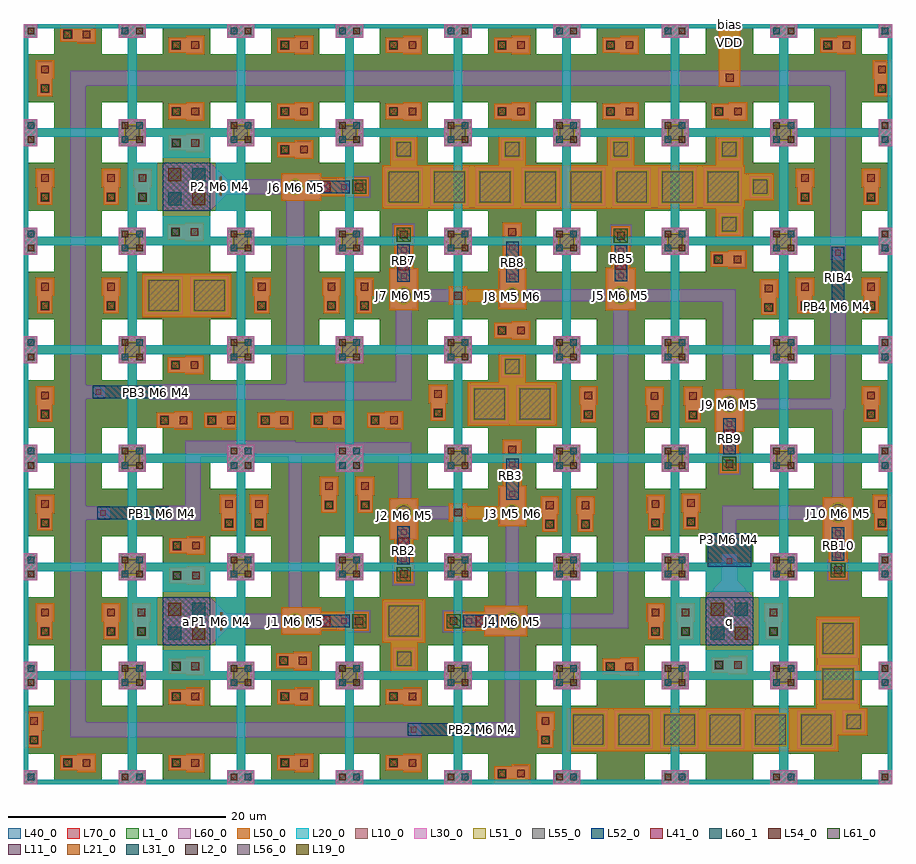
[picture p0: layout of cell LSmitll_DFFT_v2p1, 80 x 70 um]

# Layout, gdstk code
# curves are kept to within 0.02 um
from math import pi, radians
import gdstk
lib = gdstk.Library(unit=1e-6, precision=1e-09)
def R(c, l, rs):  # rectangles x0, y0, x1, y1
    for r in rs: c.add(gdstk.rectangle(r[:2], r[2:], *l))
def A(c, l, x, y, w, h, nx, ny, dx, dy):  # array of equal rectangles
    R(c, l, [(x+i*dx, y+j*dy, x+i*dx+w, y+j*dy+h) for i in range(nx) for j in range(ny)])
def P(c, l, *ps):  # polygons
    for p in ps: c.add(gdstk.Polygon(p, *l))
L1_0 = (1, 0)
L2_0 = (2, 0)
L10_0 = (10, 0)
L11_0 = (11, 0)
L19_0 = (19, 0)
L20_0 = (20, 0)
L21_0 = (21, 0)
L30_0 = (30, 0)
L31_0 = (31, 0)
L40_0 = (40, 0)
L41_0 = (41, 0)
L50_0 = (50, 0)
L51_0 = (51, 0)
L52_0 = (52, 0)
L54_0 = (54, 0)
L55_0 = (55, 0)
L56_0 = (56, 0)
L60_0 = (60, 0)
L60_1 = (60, 1)
L61_0 = (61, 0)
L70_0 = (70, 0)

ls_ib_235 = lib.new_cell('ls_ib_235')
R(ls_ib_235, L52_0, [(-0.575,0,0.575,7.475)])
R(ls_ib_235, L56_0, [(-0.26,0.29,0.26,0.81), (-0.26,6.68,0.26,7.2)])
R(ls_ib_235, L60_0, [(-0.625,-0.1,0.625,1.175), (-0.625,6.3,0.625,7.575)])

ls_fakejj_1p5x1p5um = lib.new_cell('ls_FakeJJ_1p5x1p5um')
R(ls_fakejj_1p5x1p5um, L40_0, [(-1.25,-1.25,1.25,1.25)])
R(ls_fakejj_1p5x1p5um, L50_0, [(-1.25,-1.25,1.25,1.25)])
R(ls_fakejj_1p5x1p5um, L51_0, [(-0.75,-0.75,0.75,0.75)])
R(ls_fakejj_1p5x1p5um, L55_0, [(-0.65,-0.65,0.65,0.65)])
R(ls_fakejj_1p5x1p5um, L60_0, [(-1,-1,1,1)])

ls_fakejj_3umx3um = lib.new_cell('ls_FakeJJ_3umx3um')
R(ls_fakejj_3umx3um, L40_0, [(-2,-2,2,2)])
R(ls_fakejj_3umx3um, L50_0, [(-2,-2,2,2)])
R(ls_fakejj_3umx3um, L51_0, [(-1.5,-1.5,1.5,1.5)])
R(ls_fakejj_3umx3um, L55_0, [(-1.4,-1.4,1.4,1.4)])
R(ls_fakejj_3umx3um, L60_0, [(-1.75,-1.75,1.75,1.75)])

ls_conn_m4m5m6m7 = lib.new_cell('ls_conn_M4M5M6M7')
R(ls_conn_m4m5m6m7, L40_0, [(0,0,1.4,1.4)])
R(ls_conn_m4m5m6m7, L41_0, [(0.3,0.3,1.1,1.1)])
P(ls_conn_m4m5m6m7, L50_0, [(1.6,-0.15),(1.6,0),(0,0),(0,1.4),(1.6,1.4),(1.6,1.55),(3.3,1.55),(3.3,-0.15)])
R(ls_conn_m4m5m6m7, L54_0, [(2.1,0.35,2.8,1.05)])
R(ls_conn_m4m5m6m7, L60_0, [(0,0,3.15,1.4)])
R(ls_conn_m4m5m6m7, L61_0, [(0.35,0.35,1.05,1.05)])
R(ls_conn_m4m5m6m7, L70_0, [(0,0,1.4,1.4)])

ls_tr_m7 = lib.new_cell('ls_tr_M7')
P(ls_tr_m7, L70_0, [(0,0),(0,10),(1.25,10),(1.25,8.75),(0.4,8.75),(0.4,1.25),(1.25,1.25),(1.25,0.4),(2.8,0.4),(2.8,2.8),(0.4,2.8),(0.4,7.2),(2.8,7.2),(2.8,9.6),(1.25,9.6),(1.25,10),(7.2,10),(7.2,0.4),(8.75,0.4),(8.75,1.25),(9.6,1.25),(9.6,2.8),(7.2,2.8),(7.2,7.2),(9.6,7.2),(9.6,8.75),(8.75,8.75),(8.75,9.6),(7.2,9.6),(7.2,10),(10,10),(10,0)])

ls_tr_u_m4 = lib.new_cell('ls_tr_u_M4')
P(ls_tr_u_m4, L1_0, [(0,0),(0,10),(1.25,10),(1.25,8.75),(0.4,8.75),(0.4,1.25),(1.25,1.25),(1.25,0.4),(2.8,0.4),(2.8,2.8),(0.4,2.8),(0.4,7.2),(2.8,7.2),(2.8,9.6),(1.25,9.6),(1.25,10),(7.2,10),(7.2,0.4),(8.75,0.4),(8.75,1.25),(9.6,1.25),(9.6,2.8),(7.2,2.8),(7.2,7.2),(9.6,7.2),(9.6,8.75),(8.75,8.75),(8.75,9.6),(7.2,9.6),(7.2,10),(10,10),(10,0)])
R(ls_tr_u_m4, L2_0, [(9.05,0.35,9.65,0.95), (0.35,9.05,0.95,9.65)])
R(ls_tr_u_m4, L10_0, [(0,0,1.25,1.25), (8.75,0,10,1.25), (0,8.75,1.25,10), (8.75,8.75,10,10)])
R(ls_tr_u_m4, L11_0, [(0.35,0.35,0.95,0.95), (9.05,9.05,9.65,9.65)])
P(ls_tr_u_m4, L20_0, [(0,0),(0,10),(1.25,10),(1.25,8.75),(0.4,8.75),(0.4,1.25),(1.25,1.25),(1.25,0.4),(8.75,0.4),(8.75,1.25),(9.6,1.25),(9.6,8.75),(8.75,8.75),(8.75,9.6),(1.25,9.6),(1.25,10),(10,10),(10,0)])
R(ls_tr_u_m4, L21_0, [(9.05,0.35,9.65,0.95), (0.35,9.05,0.95,9.65)])
R(ls_tr_u_m4, L30_0, [(0,0,1.25,1.25), (8.75,0,10,1.25), (0,8.75,1.25,10), (8.75,8.75,10,10)])
R(ls_tr_u_m4, L31_0, [(0.35,0.35,0.95,0.95), (9.05,9.05,9.65,9.65)])
P(ls_tr_u_m4, L40_0, [(0,0),(0,10),(1.25,10),(1.25,8.75),(0.4,8.75),(0.4,1.25),(1.25,1.25),(1.25,0.4),(2.8,0.4),(2.8,2.8),(0.4,2.8),(0.4,7.2),(2.8,7.2),(2.8,9.6),(1.25,9.6),(1.25,10),(7.2,10),(7.2,0.4),(8.75,0.4),(8.75,1.25),(9.6,1.25),(9.6,2.8),(7.2,2.8),(7.2,7.2),(9.6,7.2),(9.6,8.75),(8.75,8.75),(8.75,9.6),(7.2,9.6),(7.2,10),(10,10),(10,0)])

ls_conn_m5m6m7 = lib.new_cell('ls_conn_M5M6M7')
R(ls_conn_m5m6m7, L50_0, [(-0.5,-0.5,1.2,1.2)])
R(ls_conn_m5m6m7, L54_0, [(0,0,0.7,0.7)])
R(ls_conn_m5m6m7, L60_0, [(-0.65,-0.65,1.35,1.35)])
R(ls_conn_m5m6m7, L61_0, [(-0.3,-0.3,1,1)])
R(ls_conn_m5m6m7, L70_0, [(-0.65,-0.65,1.35,1.35)])

ls_jj_232_sg = lib.new_cell('ls_jj_232_sg')
R(ls_jj_232_sg, L41_0, [(-0.5,2.375,0.5,3.375)])
R(ls_jj_232_sg, L50_0, [(-1.4,-1.4,1.4,2.6), (-0.875,2.6,0.875,6.25)])
P(ls_jj_232_sg, L51_0, [(0,-0.88),(-0.335,-0.815),(-0.62,-0.625),(-0.81,-0.34),(-0.88,0),(-0.81,0.335),(-0.62,0.62),(-0.335,0.81),(0,0.875),(0.335,0.81),(0.62,0.62),(0.81,0.335),(0.88,0),(0.81,-0.34),(0.62,-0.625),(0.335,-0.815)])
R(ls_jj_232_sg, L52_0, [(-0.575,1.325,0.575,4.5)])
P(ls_jj_232_sg, L55_0, [(0,-0.73),(-0.28,-0.69),(-0.53,-0.52),(-0.67,-0.28),(-0.73,0),(-0.67,0.28),(-0.53,0.51),(-0.28,0.67),(0,0.73),(0.28,0.67),(0.53,0.51),(0.67,0.28),(0.73,0),(0.67,-0.28),(0.53,-0.52),(0.28,-0.69)])
R(ls_jj_232_sg, L56_0, [(-0.26,1.6,0.26,2.12), (-0.26,3.71,0.26,4.23)])
R(ls_jj_232_sg, L60_0, [(-1.25,-1.25,1.25,2.5), (-0.725,3.35,0.725,6.1)])
ls_jj_232_sg.add(gdstk.Reference(ls_conn_m5m6m7, (-0.35,5.05)))

ls_jj_212_sg = lib.new_cell('ls_jj_212_sg')
R(ls_jj_212_sg, L41_0, [(-0.5,2.35,0.5,3.35)])
R(ls_jj_212_sg, L50_0, [(-1.375,-1.375,1.375,2.55), (-0.875,2.55,0.875,6.375)])
P(ls_jj_212_sg, L51_0, [(0,-0.84),(-0.32,-0.775),(-0.595,-0.595),(-0.775,-0.32),(-0.84,0),(-0.775,0.325),(-0.595,0.595),(-0.32,0.78),(0,0.84),(0.32,0.78),(0.595,0.595),(0.775,0.325),(0.84,0),(0.775,-0.32),(0.595,-0.595),(0.32,-0.775)])
R(ls_jj_212_sg, L52_0, [(-0.575,1.3,0.575,4.625)])
R(ls_jj_212_sg, L54_0, [(-0.35,5.15,0.35,5.85)])
P(ls_jj_212_sg, L55_0, [(0,-0.69),(-0.26,-0.64),(-0.49,-0.49),(-0.64,-0.26),(-0.69,0),(-0.64,0.27),(-0.49,0.49),(-0.38,0.59),(-0.26,0.64),(0,0.69),(0.26,0.64),(0.38,0.59),(0.49,0.49),(0.64,0.27),(0.69,0),(0.64,-0.26),(0.49,-0.49),(0.26,-0.64)])
R(ls_jj_212_sg, L56_0, [(-0.26,1.57,0.26,2.09), (-0.26,3.83,0.26,4.35)])
R(ls_jj_212_sg, L60_0, [(-1.225,-1.225,1.225,2.45), (-0.725,3.45,0.725,6.225)])
ls_jj_212_sg.add(gdstk.Reference(ls_conn_m5m6m7, (-0.35,5.15)))

ls_conn_m5m6 = lib.new_cell('ls_conn_M5M6')
R(ls_conn_m5m6, L50_0, [(0,0,1.7,1.7)])
R(ls_conn_m5m6, L54_0, [(0.5,0.5,1.2,1.2)])
R(ls_conn_m5m6, L60_0, [(0.15,0.15,1.55,1.55)])

ls_jj_171_s = lib.new_cell('ls_jj_171_s')
R(ls_jj_171_s, L50_0, [(-1.275,-1.275,1.275,2.475), (-0.875,2.475,0.875,6.7)])
P(ls_jj_171_s, L51_0, [(0,-0.76),(-0.29,-0.7),(-0.535,-0.54),(-0.7,-0.29),(-0.76,0),(-0.7,0.29),(-0.535,0.535),(-0.29,0.7),(0,0.755),(0.29,0.7),(0.535,0.535),(0.7,0.29),(0.76,0),(0.7,-0.29),(0.535,-0.54),(0.29,-0.7)])
R(ls_jj_171_s, L52_0, [(-0.575,1.2,0.575,4.95)])
R(ls_jj_171_s, L54_0, [(-0.35,5.475,0.35,6.175)])
P(ls_jj_171_s, L55_0, [(0,-0.61),(-0.12,-0.6),(-0.34,-0.51),(-0.51,-0.34),(-0.6,-0.12),(-0.6,0.12),(-0.51,0.34),(-0.34,0.5),(-0.12,0.61),(0.12,0.61),(0.34,0.5),(0.51,0.34),(0.6,0.12),(0.6,-0.12),(0.51,-0.34),(0.34,-0.51),(0.12,-0.6)])
R(ls_jj_171_s, L56_0, [(-0.26,1.48,0.26,2), (-0.26,4.16,0.26,4.68)])
R(ls_jj_171_s, L60_0, [(-1.125,-1.125,1.125,2.375), (-0.725,3.775,0.725,6.55)])

ls_ib_312 = lib.new_cell('ls_ib_312')
R(ls_ib_312, L52_0, [(-0.575,0,0.575,6.025)])
R(ls_ib_312, L56_0, [(-0.26,0.29,0.26,0.81), (-0.26,5.22,0.26,5.74)])
R(ls_ib_312, L60_0, [(-0.625,-0.1,0.625,1.175), (-0.625,4.85,0.625,6.125)])

ls_jj_198_sg = lib.new_cell('ls_jj_198_sg')
R(ls_jj_198_sg, L41_0, [(-0.5,2.325,0.5,3.325)])
R(ls_jj_198_sg, L50_0, [(-1.35,-1.35,1.35,2.525), (-0.875,2.525,0.875,6.475)])
P(ls_jj_198_sg, L51_0, [(0,-0.815),(-0.31,-0.755),(-0.575,-0.575),(-0.75,-0.315),(-0.815,0),(-0.75,0.31),(-0.575,0.575),(-0.31,0.75),(0,0.81),(0.31,0.75),(0.575,0.575),(0.75,0.31),(0.815,0),(0.75,-0.315),(0.575,-0.575),(0.31,-0.755)])
R(ls_jj_198_sg, L52_0, [(-0.575,1.275,0.575,4.725)])
R(ls_jj_198_sg, L54_0, [(-0.35,5.25,0.35,5.95)])
P(ls_jj_198_sg, L55_0, [(0,-0.66),(-0.25,-0.61),(-0.47,-0.47),(-0.61,-0.25),(-0.66,0),(-0.61,0.26),(-0.47,0.47),(-0.37,0.57),(0,0.67),(0.37,0.57),(0.47,0.47),(0.61,0.26),(0.66,0),(0.61,-0.25),(0.47,-0.47),(0.25,-0.61)])
R(ls_jj_198_sg, L56_0, [(-0.26,1.54,0.26,2.06), (-0.26,3.92,0.26,4.44)])
R(ls_jj_198_sg, L60_0, [(-1.2,-1.2,1.2,2.425), (-0.725,3.55,0.725,6.325)])
ls_jj_198_sg.add(gdstk.Reference(ls_conn_m5m6m7, (-0.35,5.25)))

ls_jj_162_sg = lib.new_cell('ls_jj_162_sg')
R(ls_jj_162_sg, L41_0, [(-0.5,2.25,0.5,3.25)])
R(ls_jj_162_sg, L50_0, [(-1.275,-1.275,1.275,2.425), (-0.875,2.425,0.875,6.775)])
P(ls_jj_162_sg, L51_0, [(0,-0.74),(-0.285,-0.685),(-0.52,-0.525),(-0.685,-0.285),(-0.74,0),(-0.685,0.28),(-0.52,0.52),(-0.285,0.68),(0,0.735),(0.285,0.68),(0.52,0.52),(0.685,0.28),(0.74,0),(0.685,-0.285),(0.52,-0.525),(0.285,-0.685)])
R(ls_jj_162_sg, L52_0, [(-0.575,1.175,0.575,5.025)])
R(ls_jj_162_sg, L54_0, [(-0.35,5.55,0.35,6.25)])
P(ls_jj_162_sg, L55_0, [(0,-0.59),(-0.23,-0.55),(-0.42,-0.42),(-0.54,-0.23),(-0.59,0),(-0.54,0.22),(-0.42,0.43),(-0.13,0.58),(0,0.59),(0.13,0.58),(0.42,0.43),(0.54,0.22),(0.59,0),(0.54,-0.23),(0.42,-0.42),(0.23,-0.55)])
R(ls_jj_162_sg, L56_0, [(-0.26,1.44,0.26,1.96), (-0.26,4.23,0.26,4.75)])
R(ls_jj_162_sg, L60_0, [(-1.125,-1.125,1.125,2.325), (-0.725,3.85,0.725,6.625)])
ls_jj_162_sg.add(gdstk.Reference(ls_conn_m5m6m7, (-0.35,5.55)))

ls_ib_284 = lib.new_cell('ls_ib_284')
R(ls_ib_284, L52_0, [(-0.575,0,0.575,6.45)])
R(ls_ib_284, L56_0, [(-0.26,0.29,0.26,0.81), (-0.26,5.66,0.26,6.18)])
R(ls_ib_284, L60_0, [(-0.625,-0.1,0.625,1.175), (-0.625,5.3,0.625,6.55)])

ls_tr_ptlconnection = lib.new_cell('ls_tr_PTLconnection')
P(ls_tr_ptlconnection, L1_0, [(0,0),(0,10),(1.25,10),(1.25,8.75),(0.4,8.75),(0.4,1.25),(1.25,1.25),(1.25,0.4),(2.8,0.4),(2.8,2.8),(0.4,2.8),(0.4,7.2),(2.8,7.2),(2.8,9.6),(1.25,9.6),(1.25,10),(7.2,10),(7.2,0.4),(8.75,0.4),(8.75,1.25),(9.6,1.25),(9.6,2.8),(7.2,2.8),(7.2,7.2),(9.6,7.2),(9.6,8.75),(8.75,8.75),(8.75,9.6),(7.2,9.6),(7.2,10),(10,10),(10,0)])
R(ls_tr_ptlconnection, L2_0, [(9.05,0.35,9.65,0.95), (0.35,9.05,0.95,9.65)])
R(ls_tr_ptlconnection, L10_0, [(0,0,1.25,1.25), (8.75,0,10,1.25), (2.8,2.8,7.2,7.2), (0,8.75,1.25,10), (8.75,8.75,10,10)])
R(ls_tr_ptlconnection, L11_0, [(0.35,0.35,0.95,0.95), (3.3,3.3,4.5,4.5), (5.5,5.5,6.7,6.7), (9.05,9.05,9.65,9.65)])
R(ls_tr_ptlconnection, L20_0, [(2.8,2.8,7.2,7.2)])
P(ls_tr_ptlconnection, L20_0, [(0,0),(0,10),(7.2,10),(7.2,7.7),(2.8,7.7),(2.8,9.6),(1.25,9.6),(1.25,8.75),(0.4,8.75),(0.4,7.2),(2.3,7.2),(2.3,2.8),(0.4,2.8),(0.4,1.25),(1.25,1.25),(1.25,0.4),(2.8,0.4),(2.8,2.3),(7.2,2.3),(7.2,0.4),(8.75,0.4),(8.75,1.25),(9.6,1.25),(9.6,2.8),(7.7,2.8),(7.7,7.2),(9.6,7.2),(9.6,8.75),(8.75,8.75),(8.75,9.6),(7.2,9.6),(7.2,10),(10,10),(10,0)])
R(ls_tr_ptlconnection, L21_0, [(9.05,0.35,9.65,0.95), (5.5,3.3,6.7,4.5), (3.3,5.5,4.5,6.7), (0.35,9.05,0.95,9.65)])
R(ls_tr_ptlconnection, L30_0, [(0,0,1.25,1.25), (8.75,0,10,1.25), (2.8,2.8,7.2,7.2), (0,8.75,1.25,10), (8.75,8.75,10,10)])
R(ls_tr_ptlconnection, L31_0, [(0.35,0.35,0.95,0.95), (3.3,3.3,4.5,4.5), (5.5,5.5,6.7,6.7), (9.05,9.05,9.65,9.65)])
R(ls_tr_ptlconnection, L40_0, [(2.8,2.8,7.2,7.2)])
P(ls_tr_ptlconnection, L40_0, [(0,0),(0,10),(7.2,10),(7.2,7.7),(2.8,7.7),(2.8,9.6),(1.25,9.6),(1.25,8.75),(0.4,8.75),(0.4,7.2),(2.3,7.2),(2.3,2.8),(0.4,2.8),(0.4,1.25),(1.25,1.25),(1.25,0.4),(2.8,0.4),(2.8,2.3),(7.2,2.3),(7.2,0.4),(8.75,0.4),(8.75,1.25),(9.6,1.25),(9.6,2.8),(7.7,2.8),(7.7,7.2),(9.6,7.2),(9.6,8.75),(8.75,8.75),(8.75,9.6),(7.2,9.6),(7.2,10),(10,10),(10,0)])
R(ls_tr_ptlconnection, L41_0, [(5.5,3.3,6.7,4.5), (3.3,5.5,4.5,6.7)])
R(ls_tr_ptlconnection, L50_0, [(2.8,2.8,7.2,7.2)])
R(ls_tr_ptlconnection, L54_0, [(3.3,3.3,4.5,4.5), (5.5,5.5,6.7,6.7)])
R(ls_tr_ptlconnection, L60_0, [(2.8,2.8,7.2,7.2)])
P(ls_tr_ptlconnection, L70_0, [(0,0),(0,10),(1.25,10),(1.25,8.75),(0.4,8.75),(0.4,1.25),(1.25,1.25),(1.25,0.4),(2.8,0.4),(2.8,2.8),(0.4,2.8),(0.4,7.2),(2.8,7.2),(2.8,9.6),(1.25,9.6),(1.25,10),(7.2,10),(7.2,0.4),(8.75,0.4),(8.75,1.25),(9.6,1.25),(9.6,2.8),(7.2,2.8),(7.2,7.2),(9.6,7.2),(9.6,8.75),(8.75,8.75),(8.75,9.6),(7.2,9.6),(7.2,10),(10,10),(10,0)])

ls_ib_276 = lib.new_cell('ls_ib_276')
R(ls_ib_276, L52_0, [(-0.575,0,0.575,6.6)])
R(ls_ib_276, L56_0, [(-0.26,0.29,0.26,0.81), (-0.26,5.8,0.26,6.32)])
R(ls_ib_276, L60_0, [(-0.625,-0.1,0.625,1.175), (-0.625,5.425,0.625,6.7)])

ls_jj_189_sg = lib.new_cell('ls_jj_189_sg')
R(ls_jj_189_sg, L41_0, [(-0.5,2.3,0.5,3.3)])
R(ls_jj_189_sg, L50_0, [(-1.325,-1.325,1.325,2.525), (-0.875,2.525,0.875,6.525)])
P(ls_jj_189_sg, L51_0, [(0,-0.795),(-0.305,-0.735),(-0.565,-0.56),(-0.735,-0.305),(-0.795,0),(-0.735,0.305),(-0.565,0.565),(-0.305,0.735),(0,0.795),(0.305,0.735),(0.565,0.565),(0.735,0.305),(0.795,0),(0.735,-0.305),(0.565,-0.56),(0.305,-0.735)])
R(ls_jj_189_sg, L52_0, [(-0.575,1.25,0.575,4.775)])
P(ls_jj_189_sg, L55_0, [(0,-0.65),(-0.25,-0.6),(-0.46,-0.46),(-0.6,-0.25),(-0.65,0),(-0.6,0.24),(-0.46,0.45),(-0.25,0.59),(0,0.64),(0.25,0.59),(0.46,0.45),(0.6,0.24),(0.65,0),(0.6,-0.25),(0.46,-0.46),(0.25,-0.6)])
R(ls_jj_189_sg, L56_0, [(-0.26,1.52,0.26,2.04), (-0.26,3.99,0.26,4.51)])
R(ls_jj_189_sg, L60_0, [(-1.175,-1.175,1.175,2.425), (-0.725,3.625,0.725,6.375)])
ls_jj_189_sg.add(gdstk.Reference(ls_conn_m5m6m7, (-0.35,5.325)))

ls_jj_250_sg = lib.new_cell('ls_jj_250_sg')
R(ls_jj_250_sg, L41_0, [(-0.5,2.4,0.5,3.4)])
R(ls_jj_250_sg, L50_0, [(-1.425,-1.425,1.425,2.625), (-0.875,2.625,0.875,6.175)])
P(ls_jj_250_sg, L51_0, [(0,-0.91),(-0.18,-0.895),(-0.35,-0.84),(-0.645,-0.645),(-0.84,-0.35),(-0.91,0),(-0.895,0.18),(-0.84,0.35),(-0.645,0.645),(-0.35,0.84),(-0.18,0.895),(0,0.91),(0.18,0.895),(0.35,0.84),(0.645,0.645),(0.84,0.35),(0.895,0.18),(0.91,0),(0.84,-0.35),(0.645,-0.645),(0.35,-0.84),(0.18,-0.895)])
R(ls_jj_250_sg, L52_0, [(-0.575,1.35,0.575,4.425)])
R(ls_jj_250_sg, L54_0, [(-0.35,4.95,0.35,5.65)])
P(ls_jj_250_sg, L55_0, [(0,-0.76),(-0.15,-0.75),(-0.29,-0.7),(-0.54,-0.54),(-0.7,-0.29),(-0.75,-0.15),(-0.76,0),(-0.75,0.15),(-0.7,0.29),(-0.54,0.54),(-0.29,0.7),(-0.15,0.75),(0,0.76),(0.15,0.75),(0.29,0.7),(0.54,0.54),(0.7,0.29),(0.75,0.15),(0.76,0),(0.75,-0.15),(0.7,-0.29),(0.54,-0.54),(0.29,-0.7),(0.15,-0.75)])
R(ls_jj_250_sg, L56_0, [(-0.26,1.64,0.26,2.16), (-0.26,3.63,0.26,4.15)])
R(ls_jj_250_sg, L60_0, [(-1.275,-1.275,1.275,2.525), (-0.725,3.25,0.725,6.025)])
ls_jj_250_sg.add(gdstk.Reference(ls_conn_m5m6m7, (-0.35,4.95)))

ls_res_1p36 = lib.new_cell('ls_res_1p36')
R(ls_res_1p36, L52_0, [(-2,0,2,3.1)])
R(ls_res_1p36, L56_0, [(-0.26,0.29,0.26,0.81), (-0.26,2.3,0.26,2.82)])
R(ls_res_1p36, L60_0, [(-0.625,-0.1,0.625,1.175), (-0.625,1.925,0.625,3.2)])

lsmitll_dfft_v2p1 = lib.new_cell('LSmitll_DFFT_v2p1')
R(lsmitll_dfft_v2p1, L1_0, [(27.2,27.2,32.8,29.6), (17.2,30.4,32.8,32.8), (27.2,37.2,32.8,39.6)])
R(lsmitll_dfft_v2p1, L19_0, [(42.04,4.74,42.56,5.26), (64.74,22.3,65.26,22.82), (12.54,24.69,13.06,25.21), (11.99,35.84,12.51,36.36), (74.74,43.74,75.26,44.26)])
R(lsmitll_dfft_v2p1, L40_0, [(27.2,27.2,32.8,29.6), (17.2,30.4,32.8,32.8), (27.2,37.2,32.8,39.6)])
A(lsmitll_dfft_v2p1, L50_0, 54, 3, 0.2, 4, 5, 1, 4.2, 0)
A(lsmitll_dfft_v2p1, L50_0, 37, 53, 0.2, 4, 7, 1, 4.2, 0)
A(lsmitll_dfft_v2p1, L50_0, 33.75, 57, 2.5, 0.2, 4, 1, 10, 0)
R(lsmitll_dfft_v2p1, L50_0, [(43.35,0,46.65,0.25), (0,3.35,0.25,6.65), (75,4.5,75.2,7), (73,7,77,7.2), (73,11.2,77,11.4), (33.8,12.8,36.3,13), (79.75,23.35,80,26.65), (44.9,33,45.1,37), (43.75,37,46.25,37.2), (14.9,43,15.1,47), (63.75,52.8,66.25,53), (66.4,53.75,66.6,56.25), (79.75,63.35,80,66.65), (64,64.2,66,70), (3.35,69.75,6.65,70)])
R(lsmitll_dfft_v2p1, L60_0, [(43.35,0,46.5,0.25), (0,3.35,0.25,6.5), (64.3,18.7,65.7,21.175), (79.75,23.35,80,26.5), (5.675,24.325,6.65,25.575), (5.675,35.475,6.3,36.725), (79.75,63.35,80,66.5), (3.35,69.75,6.5,70)])
P(lsmitll_dfft_v2p1, L60_0, [(62.8,17.2),(64.3,18.7),(65.7,18.7),(67.2,17.2)],
  [(17.2,12.8),(17.2,17.2),(18.7,15.7),(23.925,15.7),(23.925,14.3),(18.7,14.3)],
  [(17.2,52.8),(17.2,57.2),(18.7,55.7),(24.875,55.7),(24.875,54.3),(18.7,54.3)])
R(lsmitll_dfft_v2p1, L60_1, [(12.8,12.8,17.2,17.2), (62.8,12.8,67.2,17.2), (12.8,52.8,17.2,57.2)])
R(lsmitll_dfft_v2p1, L70_0, [(27.2,27.2,32.8,29.6), (17.2,30.4,32.8,32.8), (27.2,37.2,32.8,39.6)])
lsmitll_dfft_v2p1.add(gdstk.FlexPath([(35.75,36.2),(24.2,36.2)], 1.7, ends="flush", simple_path=True, layer=60, datatype=0))  # L60_0
lsmitll_dfft_v2p1.add(gdstk.FlexPath([(35,43.8),(35,35.375)], 1.5, ends="flush", simple_path=True, layer=60, datatype=0))  # L60_0
lsmitll_dfft_v2p1.add(gdstk.FlexPath([(25,53.875),(25,35.775)], 1.65, ends="flush", simple_path=True, layer=60, datatype=0))  # L60_0
lsmitll_dfft_v2p1.add(gdstk.FlexPath([(40.7,45),(36.2,45)], 1.15, ends="flush", simple_path=True, layer=60, datatype=0))  # L60_0
lsmitll_dfft_v2p1.add(gdstk.FlexPath([(53.775,45),(46.125,45)], 1.1, ends="flush", simple_path=True, layer=60, datatype=0))  # L60_0
lsmitll_dfft_v2p1.add(gdstk.FlexPath([(75,44.625),(75,34.5)], 1.4, ends="flush", simple_path=True, layer=60, datatype=0))  # L60_0
lsmitll_dfft_v2p1.add(gdstk.FlexPath([(75,26.275),(75,35.5)], 1.1, ends="flush", simple_path=True, layer=60, datatype=0))  # L60_0
lsmitll_dfft_v2p1.add(gdstk.FlexPath([(73.75,25),(65,25),(65,21.925)], 1.3, ends="flush", simple_path=True, layer=60, datatype=0))  # L60_0
lsmitll_dfft_v2p1.add(gdstk.FlexPath([(66.225,35),(75.225,35)], 1, ends="flush", simple_path=True, layer=60, datatype=0))  # L60_0
lsmitll_dfft_v2p1.add(gdstk.FlexPath([(65,45.575),(65,36.225)], 1.2, ends="flush", simple_path=True, layer=60, datatype=0))  # L60_0
lsmitll_dfft_v2p1.add(gdstk.FlexPath([(56.225,45),(65.6,45)], 1.15, ends="flush", simple_path=True, layer=60, datatype=0))  # L60_0
lsmitll_dfft_v2p1.add(gdstk.FlexPath([(55,14.35),(55,43.775)], 1.4, ends="flush", simple_path=True, layer=60, datatype=0))  # L60_0
lsmitll_dfft_v2p1.add(gdstk.FlexPath([(46.25,15),(55.7,15)], 1.35, ends="flush", simple_path=True, layer=60, datatype=0))  # L60_0
lsmitll_dfft_v2p1.add(gdstk.FlexPath([(45,13.75),(45,5),(41.675,5)], 1.4, ends="flush", simple_path=True, layer=60, datatype=0))  # L60_0
lsmitll_dfft_v2p1.add(gdstk.FlexPath([(45,23.9),(45,16.25)], 1.2, ends="flush", simple_path=True, layer=60, datatype=0))  # L60_0
lsmitll_dfft_v2p1.add(gdstk.FlexPath([(36.15,25),(40.7,25)], 1.2, ends="flush", simple_path=True, layer=60, datatype=0))  # L60_0
lsmitll_dfft_v2p1.add(gdstk.FlexPath([(35.075,31.5),(35.075,26.175)], 1.2, ends="flush", simple_path=True, layer=60, datatype=0))  # L60_0
lsmitll_dfft_v2p1.add(gdstk.FlexPath([(25,30.9),(35.675,30.9)], 1.2, ends="flush", simple_path=True, layer=60, datatype=0))  # L60_0
lsmitll_dfft_v2p1.add(gdstk.FlexPath([(25,30.9),(15.6,30.9),(15.6,24.95),(12.175,24.95)], 1.4, ends="flush", simple_path=True, layer=60, datatype=0))  # L60_0
lsmitll_dfft_v2p1.add(gdstk.FlexPath([(25,16.1),(25,31.5)], 1.2, ends="flush", simple_path=True, layer=60, datatype=0))  # L60_0
lsmitll_dfft_v2p1.add(gdstk.FlexPath([(4.475,5),(36.55,5)], 1.4, ends="flush", simple_path=True, layer=60, datatype=0))  # L60_0
lsmitll_dfft_v2p1.add(gdstk.FlexPath([(5,4.3),(5,65.7)], 1.4, ends="flush", simple_path=True, layer=60, datatype=0))  # L60_0
lsmitll_dfft_v2p1.add(gdstk.FlexPath([(4.3,65),(75,65)], 1.4, ends="flush", simple_path=True, layer=60, datatype=0))  # L60_0
lsmitll_dfft_v2p1.add(gdstk.FlexPath([(75,65.7),(75,48.325)], 1.4, ends="flush", simple_path=True, layer=60, datatype=0))  # L60_0
lsmitll_dfft_v2p1.add(gdstk.FlexPath([(25.775,36.1),(11.625,36.1)], 1.4, ends="flush", simple_path=True, layer=60, datatype=0))  # L60_0
lsmitll_dfft_v2p1.add(gdstk.FlexPath([(43.725,45),(39.15,45)], 1.15, ends="flush", simple_path=True, layer=50, datatype=0))  # L50_0
lsmitll_dfft_v2p1.add(gdstk.FlexPath([(39.15,25),(43.75,25)], 1.2, ends="flush", simple_path=True, layer=50, datatype=0))  # L50_0
lsmitll_dfft_v2p1.add(gdstk.FlexPath([(18.2,15.7),(18.2,14.275)], 0.2, ends="extended", simple_path=True, layer=19, datatype=0))  # L19_0
lsmitll_dfft_v2p1.add(gdstk.FlexPath([(18.15,55.825),(18.15,54.325)], 0.2, ends="extended", simple_path=True, layer=19, datatype=0))  # L19_0
lsmitll_dfft_v2p1.add(gdstk.Reference(ls_ib_235, (42.85,5), rotation=pi/2))
lsmitll_dfft_v2p1.add(gdstk.Reference(ls_fakejj_1p5x1p5um, (40,30)))
lsmitll_dfft_v2p1.add(gdstk.Reference(ls_fakejj_1p5x1p5um, (40,20)))
lsmitll_dfft_v2p1.add(gdstk.Reference(ls_fakejj_1p5x1p5um, (40,50)))
lsmitll_dfft_v2p1.add(gdstk.Reference(ls_fakejj_3umx3um, (47.1,35)))
lsmitll_dfft_v2p1.add(gdstk.Reference(ls_fakejj_3umx3um, (39.2,55)))
lsmitll_dfft_v2p1.add(gdstk.Reference(ls_fakejj_3umx3um, (42.9,35)))
lsmitll_dfft_v2p1.add(gdstk.Reference(ls_conn_m4m5m6m7, (78.75,33.35), rotation=pi/2))
lsmitll_dfft_v2p1.add(gdstk.Reference(ls_conn_m4m5m6m7, (2.65,33.35), rotation=pi/2))
r = gdstk.Reference(ls_tr_m7, (0,0)); r.repetition = gdstk.Repetition(8, 7, v1=(10,0), v2=(0,10)); lsmitll_dfft_v2p1.add(r)
lsmitll_dfft_v2p1.add(gdstk.Reference(ls_tr_u_m4, (10,30)))
lsmitll_dfft_v2p1.add(gdstk.Reference(ls_tr_u_m4, (20,30)))
lsmitll_dfft_v2p1.add(gdstk.Reference(ls_tr_u_m4, (30,30)))
lsmitll_dfft_v2p1.add(gdstk.Reference(ls_tr_u_m4, (40,30)))
lsmitll_dfft_v2p1.add(gdstk.Reference(ls_tr_u_m4, (50,30)))
lsmitll_dfft_v2p1.add(gdstk.Reference(ls_tr_u_m4, (60,30)))
lsmitll_dfft_v2p1.add(gdstk.Reference(ls_tr_u_m4, (70,30)))
lsmitll_dfft_v2p1.add(gdstk.Reference(ls_jj_232_sg, (45,15), rotation=pi/2))
lsmitll_dfft_v2p1.add(gdstk.Reference(ls_jj_212_sg, (65,35), rotation=pi))
lsmitll_dfft_v2p1.add(gdstk.Reference(ls_conn_m5m6, (39.15,24.15)))
lsmitll_dfft_v2p1.add(gdstk.Reference(ls_conn_m5m6, (39.15,44.125)))
lsmitll_dfft_v2p1.add(gdstk.Reference(ls_tr_u_m4, (0,30)))
lsmitll_dfft_v2p1.add(gdstk.Reference(ls_conn_m4m5m6m7, (62.35,33.3), rotation=pi/2))
lsmitll_dfft_v2p1.add(gdstk.Reference(ls_conn_m4m5m6m7, (58.8,33.3), rotation=pi/2))
lsmitll_dfft_v2p1.add(gdstk.Reference(ls_conn_m4m5m6m7, (52.7,33.325), rotation=pi/2))
lsmitll_dfft_v2p1.add(gdstk.Reference(ls_conn_m4m5m6m7, (38.875,33.475), rotation=pi/2))
lsmitll_dfft_v2p1.add(gdstk.Reference(ls_fakejj_1p5x1p5um, (40,60)))
lsmitll_dfft_v2p1.add(gdstk.Reference(ls_fakejj_1p5x1p5um, (40,40)))
lsmitll_dfft_v2p1.add(gdstk.Reference(ls_fakejj_1p5x1p5um, (40,10)))
lsmitll_dfft_v2p1.add(gdstk.Reference(ls_conn_m4m5m6m7, (73.35,67.35)))
lsmitll_dfft_v2p1.add(gdstk.Reference(ls_conn_m4m5m6m7, (53.35,67.35)))
lsmitll_dfft_v2p1.add(gdstk.Reference(ls_conn_m4m5m6m7, (43.35,67.35)))
lsmitll_dfft_v2p1.add(gdstk.Reference(ls_fakejj_1p5x1p5um, (65,51.55)))
lsmitll_dfft_v2p1.add(gdstk.Reference(ls_tr_u_m4, (70,60)))
lsmitll_dfft_v2p1.add(gdstk.Reference(ls_tr_u_m4, (60,60)))
lsmitll_dfft_v2p1.add(gdstk.Reference(ls_tr_u_m4, (50,60)))
lsmitll_dfft_v2p1.add(gdstk.Reference(ls_tr_u_m4, (40,60)))
lsmitll_dfft_v2p1.add(gdstk.Reference(ls_tr_u_m4, (40,50)))
lsmitll_dfft_v2p1.add(gdstk.Reference(ls_tr_u_m4, (50,50)))
lsmitll_dfft_v2p1.add(gdstk.Reference(ls_tr_u_m4, (60,50)))
lsmitll_dfft_v2p1.add(gdstk.Reference(ls_tr_u_m4, (70,50)))
lsmitll_dfft_v2p1.add(gdstk.Reference(ls_tr_u_m4, (70,40)))
lsmitll_dfft_v2p1.add(gdstk.Reference(ls_tr_u_m4, (60,40)))
lsmitll_dfft_v2p1.add(gdstk.Reference(ls_tr_u_m4, (50,40)))
lsmitll_dfft_v2p1.add(gdstk.Reference(ls_tr_u_m4, (40,40)))
lsmitll_dfft_v2p1.add(gdstk.Reference(ls_fakejj_1p5x1p5um, (67.85,55)))
lsmitll_dfft_v2p1.add(gdstk.Reference(ls_fakejj_1p5x1p5um, (60,40)))
lsmitll_dfft_v2p1.add(gdstk.Reference(ls_fakejj_3umx3um, (56,55)))
lsmitll_dfft_v2p1.add(gdstk.Reference(ls_fakejj_3umx3um, (47.6,55)))
lsmitll_dfft_v2p1.add(gdstk.Reference(ls_fakejj_1p5x1p5um, (70,40)))
lsmitll_dfft_v2p1.add(gdstk.Reference(ls_fakejj_1p5x1p5um, (50,50)))
lsmitll_dfft_v2p1.add(gdstk.Reference(ls_fakejj_3umx3um, (64.4,55)))
lsmitll_dfft_v2p1.add(gdstk.Reference(ls_fakejj_3umx3um, (51.8,55)))
lsmitll_dfft_v2p1.add(gdstk.Reference(ls_fakejj_3umx3um, (43.4,55)))
lsmitll_dfft_v2p1.add(gdstk.Reference(ls_jj_212_sg, (55,45)))
lsmitll_dfft_v2p1.add(gdstk.Reference(ls_jj_171_s, (45,45)))
lsmitll_dfft_v2p1.add(gdstk.Reference(ls_conn_m4m5m6m7, (79.75,63.35), rotation=pi/2))
lsmitll_dfft_v2p1.add(gdstk.Reference(ls_ib_312, (75,43.45)))
lsmitll_dfft_v2p1.add(gdstk.Reference(ls_conn_m5m6, (64.175,64.2)))
lsmitll_dfft_v2p1.add(gdstk.Reference(ls_conn_m4m5m6m7, (72.65,43.35), rotation=pi/2))
lsmitll_dfft_v2p1.add(gdstk.Reference(ls_conn_m4m5m6m7, (43.35,41.075)))
lsmitll_dfft_v2p1.add(gdstk.Reference(ls_conn_m4m5m6m7, (63.275,47.625)))
lsmitll_dfft_v2p1.add(gdstk.Reference(ls_conn_m4m5m6m7, (69.325,43.2), rotation=pi/2))
lsmitll_dfft_v2p1.add(gdstk.Reference(ls_conn_m4m5m6m7, (78.75,43.35), rotation=pi/2))
lsmitll_dfft_v2p1.add(gdstk.Reference(ls_conn_m4m5m6m7, (78.75,53.35), rotation=pi/2))
lsmitll_dfft_v2p1.add(gdstk.Reference(ls_conn_m4m5m6m7, (72.65,53.35), rotation=pi/2))
lsmitll_dfft_v2p1.add(gdstk.Reference(ls_fakejj_1p5x1p5um, (65,58.45)))
lsmitll_dfft_v2p1.add(gdstk.Reference(ls_conn_m4m5m6m7, (63.35,61.25)))
lsmitll_dfft_v2p1.add(gdstk.Reference(ls_fakejj_1p5x1p5um, (50,60)))
lsmitll_dfft_v2p1.add(gdstk.Reference(ls_fakejj_1p5x1p5um, (60,60)))
lsmitll_dfft_v2p1.add(gdstk.Reference(ls_fakejj_1p5x1p5um, (70,60)))
lsmitll_dfft_v2p1.add(gdstk.Reference(ls_fakejj_1p5x1p5um, (70,50)))
lsmitll_dfft_v2p1.add(gdstk.Reference(ls_fakejj_1p5x1p5um, (60,50)))
lsmitll_dfft_v2p1.add(gdstk.Reference(ls_fakejj_1p5x1p5um, (50,40)))
lsmitll_dfft_v2p1.add(gdstk.Reference(ls_conn_m4m5m6m7, (43.35,61.25)))
lsmitll_dfft_v2p1.add(gdstk.Reference(ls_conn_m4m5m6m7, (53.35,61.25)))
lsmitll_dfft_v2p1.add(gdstk.Reference(ls_fakejj_3umx3um, (60.2,55)))
lsmitll_dfft_v2p1.add(gdstk.Reference(ls_fakejj_1p5x1p5um, (55,58.45)))
lsmitll_dfft_v2p1.add(gdstk.Reference(ls_fakejj_1p5x1p5um, (45,58.45)))
lsmitll_dfft_v2p1.add(gdstk.Reference(ls_fakejj_1p5x1p5um, (45,38.45)))
lsmitll_dfft_v2p1.add(gdstk.Reference(ls_conn_m4m5m6m7, (33.35,67.35)))
lsmitll_dfft_v2p1.add(gdstk.Reference(ls_conn_m4m5m6m7, (23.35,67.35)))
lsmitll_dfft_v2p1.add(gdstk.Reference(ls_conn_m4m5m6m7, (13.35,67.35)))
lsmitll_dfft_v2p1.add(gdstk.Reference(ls_conn_m4m5m6m7, (2.65,63.35), rotation=pi/2))
lsmitll_dfft_v2p1.add(gdstk.Reference(ls_conn_m4m5m6m7, (13.275,50.15)))
lsmitll_dfft_v2p1.add(gdstk.Reference(ls_conn_m4m5m6m7, (13.35,58.35)))
lsmitll_dfft_v2p1.add(gdstk.Reference(ls_jj_198_sg, (35,45)))
lsmitll_dfft_v2p1.add(gdstk.Reference(ls_conn_m4m5m6m7, (13.275,37.9)))
lsmitll_dfft_v2p1.add(gdstk.Reference(ls_jj_162_sg, (25,55), rotation=3*pi/2))
lsmitll_dfft_v2p1.add(gdstk.Reference(ls_conn_m4m5m6m7, (8.75,43.35), rotation=pi/2))
lsmitll_dfft_v2p1.add(gdstk.Reference(ls_conn_m4m5m6m7, (2.65,43.35), rotation=pi/2))
lsmitll_dfft_v2p1.add(gdstk.Reference(ls_tr_u_m4, (30,60)))
lsmitll_dfft_v2p1.add(gdstk.Reference(ls_tr_u_m4, (0,40)))
lsmitll_dfft_v2p1.add(gdstk.Reference(ls_tr_u_m4, (0,50)))
lsmitll_dfft_v2p1.add(gdstk.Reference(ls_tr_u_m4, (0,60)))
lsmitll_dfft_v2p1.add(gdstk.Reference(ls_tr_u_m4, (20,60)))
lsmitll_dfft_v2p1.add(gdstk.Reference(ls_tr_u_m4, (10,60)))
lsmitll_dfft_v2p1.add(gdstk.Reference(ls_tr_u_m4, (20,50)))
lsmitll_dfft_v2p1.add(gdstk.Reference(ls_tr_u_m4, (30,50)))
lsmitll_dfft_v2p1.add(gdstk.Reference(ls_conn_m4m5m6m7, (2.65,53.35), rotation=pi/2))
lsmitll_dfft_v2p1.add(gdstk.Reference(ls_conn_m4m5m6m7, (8.75,53.35), rotation=pi/2))
lsmitll_dfft_v2p1.add(gdstk.Reference(ls_conn_m4m5m6m7, (11.65,53.35), rotation=pi/2))
lsmitll_dfft_v2p1.add(gdstk.Reference(ls_conn_m4m5m6m7, (22.625,43.35), rotation=pi/2))
lsmitll_dfft_v2p1.add(gdstk.Reference(ls_conn_m4m5m6m7, (29.05,43.35), rotation=pi/2))
lsmitll_dfft_v2p1.add(gdstk.Reference(ls_conn_m5m6m7, (34.65,50.25)))
lsmitll_dfft_v2p1.add(gdstk.Reference(ls_fakejj_1p5x1p5um, (10,60)))
lsmitll_dfft_v2p1.add(gdstk.Reference(ls_fakejj_1p5x1p5um, (20,60)))
lsmitll_dfft_v2p1.add(gdstk.Reference(ls_fakejj_1p5x1p5um, (30,60)))
lsmitll_dfft_v2p1.add(gdstk.Reference(ls_fakejj_1p5x1p5um, (30,50)))
lsmitll_dfft_v2p1.add(gdstk.Reference(ls_conn_m4m5m6m7, (13.35,61.25)))
lsmitll_dfft_v2p1.add(gdstk.Reference(ls_conn_m4m5m6m7, (23.35,61.25)))
lsmitll_dfft_v2p1.add(gdstk.Reference(ls_conn_m4m5m6m7, (33.35,61.25)))
lsmitll_dfft_v2p1.add(gdstk.Reference(ls_conn_m4m5m6m7, (32.075,43.35), rotation=pi/2))
lsmitll_dfft_v2p1.add(gdstk.Reference(ls_tr_u_m4, (30,40)))
lsmitll_dfft_v2p1.add(gdstk.Reference(ls_tr_u_m4, (20,40)))
lsmitll_dfft_v2p1.add(gdstk.Reference(ls_tr_u_m4, (10,40)))
lsmitll_dfft_v2p1.add(gdstk.Reference(ls_fakejj_1p5x1p5um, (10,50)))
lsmitll_dfft_v2p1.add(gdstk.Reference(ls_fakejj_1p5x1p5um, (20,50)))
lsmitll_dfft_v2p1.add(gdstk.Reference(ls_fakejj_1p5x1p5um, (10,40)))
lsmitll_dfft_v2p1.add(gdstk.Reference(ls_ib_284, (12.8,36.1), rotation=pi/2))
lsmitll_dfft_v2p1.add(gdstk.Reference(ls_conn_m4m5m6m7, (3.35,68.35)))
lsmitll_dfft_v2p1.add(gdstk.Reference(ls_fakejj_3umx3um, (35,55)))
lsmitll_dfft_v2p1.add(gdstk.Reference(ls_fakejj_3umx3um, (12.9,45)))
lsmitll_dfft_v2p1.add(gdstk.Reference(ls_fakejj_3umx3um, (17.1,45)))
lsmitll_dfft_v2p1.add(gdstk.Reference(ls_tr_ptlconnection, (10,50)))
lsmitll_dfft_v2p1.add(gdstk.Reference(ls_fakejj_1p5x1p5um, (30,40)))
lsmitll_dfft_v2p1.add(gdstk.Reference(ls_fakejj_1p5x1p5um, (20,40)))
lsmitll_dfft_v2p1.add(gdstk.Reference(ls_fakejj_1p5x1p5um, (35,58.45)))
lsmitll_dfft_v2p1.add(gdstk.Reference(ls_conn_m4m5m6m7, (23.35,57.725)))
lsmitll_dfft_v2p1.add(gdstk.Reference(ls_conn_m4m5m6m7, (12.275,32.8)))
lsmitll_dfft_v2p1.add(gdstk.Reference(ls_fakejj_3umx3um, (35,15)))
lsmitll_dfft_v2p1.add(gdstk.Reference(ls_conn_m4m5m6m7, (21.55,32.8)))
lsmitll_dfft_v2p1.add(gdstk.Reference(ls_conn_m4m5m6m7, (26.425,32.8)))
lsmitll_dfft_v2p1.add(gdstk.Reference(ls_conn_m4m5m6m7, (31.65,32.8)))
lsmitll_dfft_v2p1.add(gdstk.Reference(ls_conn_m4m5m6m7, (13.425,21.25)))
lsmitll_dfft_v2p1.add(gdstk.Reference(ls_conn_m4m5m6m7, (16.625,32.8)))
lsmitll_dfft_v2p1.add(gdstk.Reference(ls_conn_m4m5m6m7, (13.35,10.15)))
lsmitll_dfft_v2p1.add(gdstk.Reference(ls_tr_u_m4, (10,20)))
lsmitll_dfft_v2p1.add(gdstk.Reference(ls_tr_u_m4, (30,10)))
lsmitll_dfft_v2p1.add(gdstk.Reference(ls_tr_u_m4, (20,10)))
lsmitll_dfft_v2p1.add(gdstk.Reference(ls_tr_ptlconnection, (10,10)))
lsmitll_dfft_v2p1.add(gdstk.Reference(ls_conn_m4m5m6m7, (3.35,1.25)))
lsmitll_dfft_v2p1.add(gdstk.Reference(ls_conn_m4m5m6m7, (13.35,7.35)))
lsmitll_dfft_v2p1.add(gdstk.Reference(ls_conn_m4m5m6m7, (22.375,23.325), rotation=pi/2))
lsmitll_dfft_v2p1.add(gdstk.Reference(ls_conn_m4m5m6m7, (28.825,25), rotation=pi/2))
lsmitll_dfft_v2p1.add(gdstk.Reference(ls_conn_m4m5m6m7, (32.15,25), rotation=pi/2))
lsmitll_dfft_v2p1.add(gdstk.Reference(ls_conn_m4m5m6m7, (23.25,10.65)))
lsmitll_dfft_v2p1.add(gdstk.Reference(ls_conn_m4m5m6m7, (13.425,18.5)))
lsmitll_dfft_v2p1.add(gdstk.Reference(ls_conn_m4m5m6m7, (23.35,7.35)))
lsmitll_dfft_v2p1.add(gdstk.Reference(ls_conn_m4m5m6m7, (33.35,7.35)))
lsmitll_dfft_v2p1.add(gdstk.Reference(ls_conn_m4m5m6m7, (33.35,1.25)))
lsmitll_dfft_v2p1.add(gdstk.Reference(ls_conn_m4m5m6m7, (23.35,1.25)))
lsmitll_dfft_v2p1.add(gdstk.Reference(ls_conn_m4m5m6m7, (13.35,1.25)))
lsmitll_dfft_v2p1.add(gdstk.Reference(ls_tr_u_m4, (30,20)))
lsmitll_dfft_v2p1.add(gdstk.Reference(ls_tr_u_m4, (20,20)))
lsmitll_dfft_v2p1.add(gdstk.Reference(ls_conn_m4m5m6m7, (11.55,13.35), rotation=pi/2))
lsmitll_dfft_v2p1.add(gdstk.Reference(ls_fakejj_1p5x1p5um, (35.05,11.55)))
lsmitll_dfft_v2p1.add(gdstk.Reference(ls_fakejj_1p5x1p5um, (20,20)))
lsmitll_dfft_v2p1.add(gdstk.Reference(ls_fakejj_1p5x1p5um, (30,20)))
lsmitll_dfft_v2p1.add(gdstk.Reference(ls_conn_m4m5m6m7, (1.65,3.35), rotation=pi/2))
lsmitll_dfft_v2p1.add(gdstk.Reference(ls_jj_162_sg, (25,15), rotation=3*pi/2))
lsmitll_dfft_v2p1.add(gdstk.Reference(ls_ib_276, (13.35,24.95), rotation=pi/2))
lsmitll_dfft_v2p1.add(gdstk.Reference(ls_conn_m4m5m6m7, (2.65,13.35), rotation=pi/2))
lsmitll_dfft_v2p1.add(gdstk.Reference(ls_fakejj_1p5x1p5um, (10,30)))
lsmitll_dfft_v2p1.add(gdstk.Reference(ls_fakejj_1p5x1p5um, (10,20)))
lsmitll_dfft_v2p1.add(gdstk.Reference(ls_fakejj_1p5x1p5um, (10,10)))
lsmitll_dfft_v2p1.add(gdstk.Reference(ls_fakejj_1p5x1p5um, (20,10)))
lsmitll_dfft_v2p1.add(gdstk.Reference(ls_fakejj_1p5x1p5um, (30,10)))
lsmitll_dfft_v2p1.add(gdstk.Reference(ls_conn_m4m5m6m7, (8.75,13.35), rotation=pi/2))
lsmitll_dfft_v2p1.add(gdstk.Reference(ls_conn_m4m5m6m7, (2.65,23.35), rotation=pi/2))
lsmitll_dfft_v2p1.add(gdstk.Reference(ls_tr_u_m4, (30,0)))
lsmitll_dfft_v2p1.add(gdstk.Reference(ls_tr_u_m4, (20,0)))
lsmitll_dfft_v2p1.add(gdstk.Reference(ls_tr_u_m4, (10,0)))
lsmitll_dfft_v2p1.add(gdstk.Reference(ls_tr_u_m4, (0,0)))
lsmitll_dfft_v2p1.add(gdstk.Reference(ls_tr_u_m4, (0,20)))
lsmitll_dfft_v2p1.add(gdstk.Reference(ls_jj_189_sg, (35,25), rotation=pi))
lsmitll_dfft_v2p1.add(gdstk.Reference(ls_tr_u_m4, (0,10)))
lsmitll_dfft_v2p1.add(gdstk.Reference(ls_conn_m4m5m6m7, (19.6,23.325), rotation=pi/2))
lsmitll_dfft_v2p1.add(gdstk.Reference(ls_conn_m4m5m6m7, (52.45,23.225), rotation=pi/2))
lsmitll_dfft_v2p1.add(gdstk.Reference(ls_conn_m4m5m6m7, (49.15,23.225), rotation=pi/2))
lsmitll_dfft_v2p1.add(gdstk.Reference(ls_conn_m4m5m6m7, (58.9,23.35), rotation=pi/2))
lsmitll_dfft_v2p1.add(gdstk.Reference(ls_conn_m4m5m6m7, (58.9,13.35), rotation=pi/2))
lsmitll_dfft_v2p1.add(gdstk.Reference(ls_fakejj_1p5x1p5um, (50,20)))
lsmitll_dfft_v2p1.add(gdstk.Reference(ls_jj_171_s, (45,25)))
lsmitll_dfft_v2p1.add(gdstk.Reference(ls_conn_m4m5m6m7, (79.75,23.35), rotation=pi/2))
lsmitll_dfft_v2p1.add(gdstk.Reference(ls_conn_m4m5m6m7, (53.325,10.125)))
lsmitll_dfft_v2p1.add(gdstk.Reference(ls_fakejj_3umx3um, (73,5)))
lsmitll_dfft_v2p1.add(gdstk.Reference(ls_conn_m4m5m6m7, (43.35,0.25)))
lsmitll_dfft_v2p1.add(gdstk.Reference(ls_fakejj_1p5x1p5um, (60,20)))
lsmitll_dfft_v2p1.add(gdstk.Reference(ls_fakejj_1p5x1p5um, (70,30)))
lsmitll_dfft_v2p1.add(gdstk.Reference(ls_tr_u_m4, (70,10)))
lsmitll_dfft_v2p1.add(gdstk.Reference(ls_tr_u_m4, (70,0)))
lsmitll_dfft_v2p1.add(gdstk.Reference(ls_tr_u_m4, (60,0)))
lsmitll_dfft_v2p1.add(gdstk.Reference(ls_tr_u_m4, (50,0)))
lsmitll_dfft_v2p1.add(gdstk.Reference(ls_tr_u_m4, (40,0)))
lsmitll_dfft_v2p1.add(gdstk.Reference(ls_tr_u_m4, (50,10)))
lsmitll_dfft_v2p1.add(gdstk.Reference(ls_tr_u_m4, (40,10)))
lsmitll_dfft_v2p1.add(gdstk.Reference(ls_conn_m4m5m6m7, (63.35,10.25)))
lsmitll_dfft_v2p1.add(gdstk.Reference(ls_conn_m4m5m6m7, (69.75,13.35), rotation=pi/2))
lsmitll_dfft_v2p1.add(gdstk.Reference(ls_tr_ptlconnection, (60,10)))
lsmitll_dfft_v2p1.add(gdstk.Reference(ls_conn_m4m5m6m7, (61.65,13.35), rotation=pi/2))
lsmitll_dfft_v2p1.add(gdstk.Reference(ls_fakejj_3umx3um, (75,9.2)))
lsmitll_dfft_v2p1.add(gdstk.Reference(ls_fakejj_3umx3um, (56.2,5)))
lsmitll_dfft_v2p1.add(gdstk.Reference(ls_conn_m4m5m6m7, (48.75,3.35), rotation=pi/2))
lsmitll_dfft_v2p1.add(gdstk.Reference(ls_fakejj_3umx3um, (64.6,5)))
lsmitll_dfft_v2p1.add(gdstk.Reference(ls_jj_250_sg, (75,25), rotation=pi))
lsmitll_dfft_v2p1.add(gdstk.Reference(ls_res_1p36, (65,20)))
lsmitll_dfft_v2p1.add(gdstk.Reference(ls_fakejj_1p5x1p5um, (76.45,5.75)))
lsmitll_dfft_v2p1.add(gdstk.Reference(ls_tr_u_m4, (70,20)))
lsmitll_dfft_v2p1.add(gdstk.Reference(ls_fakejj_1p5x1p5um, (50,10)))
lsmitll_dfft_v2p1.add(gdstk.Reference(ls_fakejj_1p5x1p5um, (60,10)))
lsmitll_dfft_v2p1.add(gdstk.Reference(ls_fakejj_1p5x1p5um, (70,10)))
lsmitll_dfft_v2p1.add(gdstk.Reference(ls_fakejj_1p5x1p5um, (70,20)))
lsmitll_dfft_v2p1.add(gdstk.Reference(ls_fakejj_1p5x1p5um, (60,30)))
lsmitll_dfft_v2p1.add(gdstk.Reference(ls_tr_u_m4, (60,20)))
lsmitll_dfft_v2p1.add(gdstk.Reference(ls_tr_u_m4, (50,20)))
lsmitll_dfft_v2p1.add(gdstk.Reference(ls_tr_u_m4, (40,20)))
lsmitll_dfft_v2p1.add(gdstk.Reference(ls_fakejj_1p5x1p5um, (50,30)))
lsmitll_dfft_v2p1.add(gdstk.Reference(ls_conn_m4m5m6m7, (62.15,23.45), rotation=pi/2))
lsmitll_dfft_v2p1.add(gdstk.Reference(ls_fakejj_3umx3um, (52,5)))
lsmitll_dfft_v2p1.add(gdstk.Reference(ls_fakejj_3umx3um, (60.4,5)))
lsmitll_dfft_v2p1.add(gdstk.Reference(ls_fakejj_3umx3um, (68.8,5)))
lsmitll_dfft_v2p1.add(gdstk.Reference(ls_fakejj_3umx3um, (75,13.4)))
lsmitll_dfft_v2p1.add(gdstk.Label('PB2 M6 M4', (42.29,5.01), layer=182, texttype=0))
lsmitll_dfft_v2p1.add(gdstk.Label('J4 M6 M5', (45.05,14.975), layer=182, texttype=0))
lsmitll_dfft_v2p1.add(gdstk.Label('J1 M6 M5', (25,15), layer=182, texttype=0))
lsmitll_dfft_v2p1.add(gdstk.Label('P1 M6 M4', (18.225,15), layer=182, texttype=0))
lsmitll_dfft_v2p1.add(gdstk.Label('P3 M6 M4', (64.97,22.525), layer=182, texttype=0))
lsmitll_dfft_v2p1.add(gdstk.Label('J2 M6 M5', (35.05,24.775), layer=182, texttype=0))
lsmitll_dfft_v2p1.add(gdstk.Label('J10 M6 M5', (75,24.95), layer=182, texttype=0))
lsmitll_dfft_v2p1.add(gdstk.Label('PB1 M6 M4', (12.795,24.945), layer=182, texttype=0))
lsmitll_dfft_v2p1.add(gdstk.Label('J3 M5 M6', (45.1,24.95), layer=182, texttype=0))
lsmitll_dfft_v2p1.add(gdstk.Label('J9 M6 M5', (65,34.95), layer=182, texttype=0))
lsmitll_dfft_v2p1.add(gdstk.Label('J8 M5 M6', (45.025,44.925), layer=182, texttype=0))
lsmitll_dfft_v2p1.add(gdstk.Label('J5 M6 M5', (54.975,44.95), layer=182, texttype=0))
lsmitll_dfft_v2p1.add(gdstk.Label('J7 M6 M5', (35,45), layer=182, texttype=0))
lsmitll_dfft_v2p1.add(gdstk.Label('PB3 M6 M4', (12.225,36.1), layer=182, texttype=0))
lsmitll_dfft_v2p1.add(gdstk.Label('J6 M6 M5', (25.15,54.9), layer=182, texttype=0))
lsmitll_dfft_v2p1.add(gdstk.Label('P2 M6 M4', (18.15,55.025), layer=182, texttype=0))
lsmitll_dfft_v2p1.add(gdstk.Label('PB4 M6 M4', (74.985,44.015), layer=182, texttype=0))
lsmitll_dfft_v2p1.add(gdstk.Label('clk', (15,55), layer=182, texttype=0))
lsmitll_dfft_v2p1.add(gdstk.Label('a', (15,15), layer=182, texttype=0))
lsmitll_dfft_v2p1.add(gdstk.Label('q', (65,15), layer=182, texttype=0))
lsmitll_dfft_v2p1.add(gdstk.Label('bias', (65,70), layer=182, texttype=0))
lsmitll_dfft_v2p1.add(gdstk.Label('VDD', (65.016,68.268), layer=50, texttype=1))
lsmitll_dfft_v2p1.add(gdstk.Label('GND', (66.306,68.413), layer=40, texttype=1))
lsmitll_dfft_v2p1.add(gdstk.Label('RB1', (28.47,14.959), layer=52, texttype=1))
lsmitll_dfft_v2p1.add(gdstk.Label('RB2', (34.97,21.487), layer=52, texttype=1))
lsmitll_dfft_v2p1.add(gdstk.Label('RB3', (44.876,28.441), layer=52, texttype=1))
lsmitll_dfft_v2p1.add(gdstk.Label('RB4', (41.64,15.072), layer=52, texttype=1))
lsmitll_dfft_v2p1.add(gdstk.Label('RB5', (55.03,48.36), layer=52, texttype=1))
lsmitll_dfft_v2p1.add(gdstk.Label('RB6', (28.526,54.924), layer=52, texttype=1))
lsmitll_dfft_v2p1.add(gdstk.Label('RB7', (34.948,48.254), layer=52, texttype=1))
lsmitll_dfft_v2p1.add(gdstk.Label('RB8', (45.025,48.076), layer=52, texttype=1))
lsmitll_dfft_v2p1.add(gdstk.Label('RB9', (64.972,31.847), layer=52, texttype=1))
lsmitll_dfft_v2p1.add(gdstk.Label('RB10', (75.006,21.927), layer=52, texttype=1))
lsmitll_dfft_v2p1.add(gdstk.Label('RD', (65.029,21.459), layer=52, texttype=1))
lsmitll_dfft_v2p1.add(gdstk.Label('RIB1', (10.112,24.925), layer=52, texttype=1))
lsmitll_dfft_v2p1.add(gdstk.Label('RIB2', (39.516,4.879), layer=52, texttype=1))
lsmitll_dfft_v2p1.add(gdstk.Label('RIB3', (9.605,36.037), layer=52, texttype=1))
lsmitll_dfft_v2p1.add(gdstk.Label('RIB4', (75.026,46.687), layer=52, texttype=1))
lsmitll_dfft_v2p1.add(gdstk.Label('a', (15.023,15.017), layer=60, texttype=1))
lsmitll_dfft_v2p1.add(gdstk.Label('clk', (14.987,55.037), layer=60, texttype=1))
lsmitll_dfft_v2p1.add(gdstk.Label('q', (64.999,15.023), layer=60, texttype=1))

lib.write_gds('LSmitll_DFFT_v2p1.gds')
